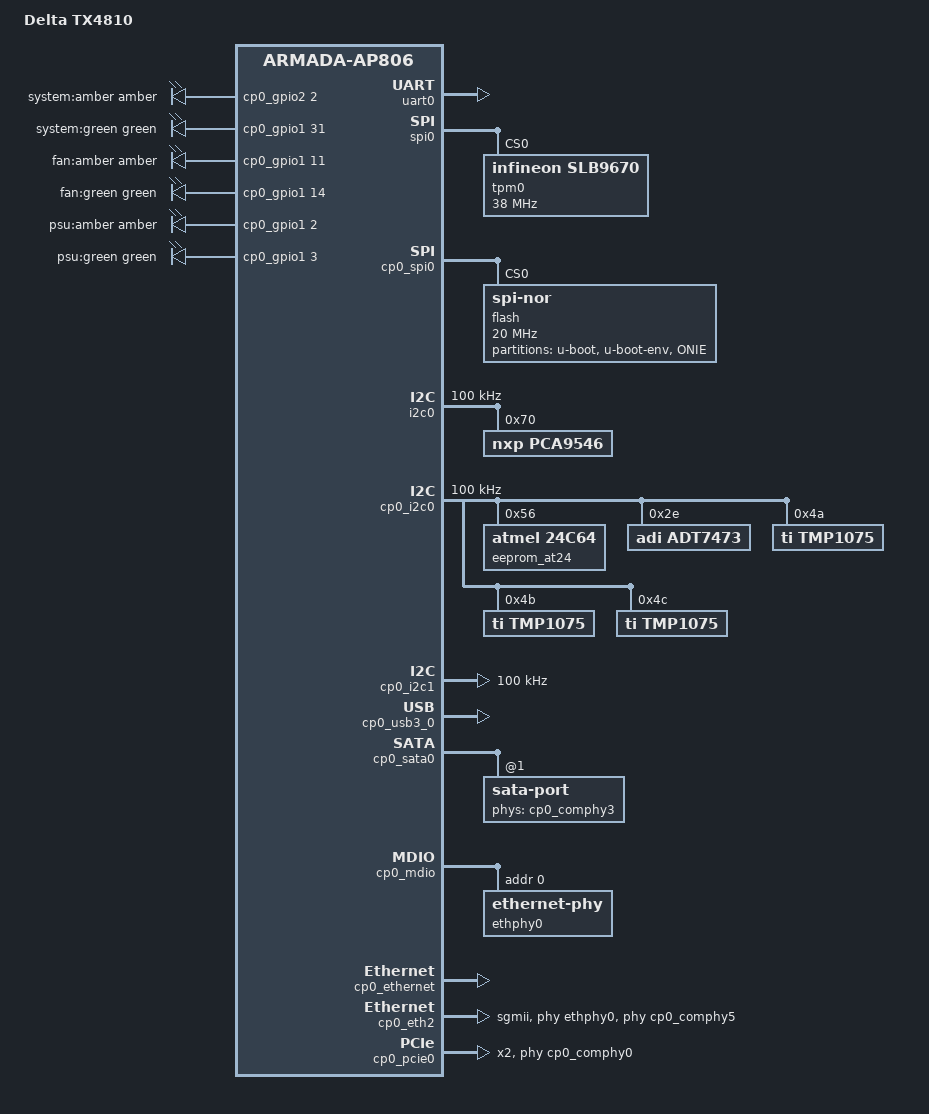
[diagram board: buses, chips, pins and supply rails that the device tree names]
// SPDX-License-Identifier: GPL-2.0-or-later OR MIT
/*
 * Copyright (C) 2016 Marvell Technology Group Ltd.
 * Copyright (C) 2021 Sartura Ltd.
 *
 * Device Tree file for Delta TX4810 switch
 */

#include <dt-bindings/leds/common.h>
#include <dt-bindings/gpio/gpio.h>
#include "armada-7040.dtsi"

/ {
	model = "Delta TX4810";
	compatible = "delta,tx4810", "marvell,armada7040",
		     "marvell,armada-ap806-quad", "marvell,armada-ap806";

	chosen {
		stdout-path = "serial0:115200n8";
	};

	aliases {
		ethernet2 = &cp0_eth2;
	};

	leds {
		compatible = "gpio-leds";

		sys-amber {
			gpios = <&cp0_gpio2 2 GPIO_ACTIVE_HIGH>;
			color = <LED_COLOR_ID_AMBER>;
			label = "system:amber";
			default-state = "off";
			panic-indicator;
		};

		sys-green {
			gpios = <&cp0_gpio1 31 GPIO_ACTIVE_HIGH>;
			color = <LED_COLOR_ID_GREEN>;
			label = "system:green";
			default-state = "on";
		};

		fan-amber {
			gpios = <&cp0_gpio1 11 GPIO_ACTIVE_HIGH>;
			color = <LED_COLOR_ID_AMBER>;
			label = "fan:amber";
			default-state = "off";
		};

		fan-green {
			gpios = <&cp0_gpio1 14 GPIO_ACTIVE_HIGH>;
			color = <LED_COLOR_ID_GREEN>;
			label = "fan:green";
			default-state = "on";
		};

		psu-amber {
			gpios = <&cp0_gpio1 2 GPIO_ACTIVE_HIGH>;
			color = <LED_COLOR_ID_AMBER>;
			label = "psu:amber";
			default-state = "off";
		};

		psu-green {
			gpios = <&cp0_gpio1 3 GPIO_ACTIVE_HIGH>;
			color = <LED_COLOR_ID_GREEN>;
			label = "psu:green";
			default-state = "on";
		};
	};
};

&uart0 {
	status = "okay";
	pinctrl-0 = <&uart0_pins>;
	pinctrl-names = "default";
};

&spi0 {
	status = "okay";

	tpm0: slb9670@0 {
		compatible = "infineon,slb9670";
		reg = <0>;
		spi-max-frequency = <38000000>;
		status = "okay";
	};
};

&cp0_spi0 {
	status = "okay";

	flash@0 {
		compatible = "jedec,spi-nor";
		reg = <0>;
		spi-max-frequency = <20000000>;

		partitions {
			compatible = "fixed-partitions";
			#address-cells = <1>;
			#size-cells = <1>;

			partition@0 {
				label = "u-boot";
				reg = <0x0 0x3f0000>;
				read-only;
			};

			partition@3f0000 {
				label = "u-boot-env";
				reg = <0x3f0000 0x010000>;
			};

			partition@400000 {
				label = "ONIE";
				reg = <0x400000 0xc00000>;
			};
		};
	};
};

&i2c0 {
	status = "okay";
	clock-frequency = <100000>;

	pca9546@70 {
		compatible = "nxp,pca9546";
		reg = <0x70>;
		i2c-mux-idle-disconnect;
	};
};

&cp0_i2c0 {
	status = "okay";
	clock-frequency = <100000>;

	eeprom_at24: at24@56 {
		compatible = "atmel,24c64";
		reg = <0x56>;
	};

	adt7473@2e {
		compatible = "adi,adt7473";
		reg = <0x2e>;
	};

	tmp1075@4a {
		compatible = "ti,tmp1075";
		reg = <0x4a>;
	};

	tmp1075@4b {
		compatible = "ti,tmp1075";
		reg = <0x4b>;
	};

	tmp1075@4c {
		compatible = "ti,tmp1075";
		reg = <0x4c>;
	};
};

&cp0_i2c1 {
	status = "okay";
	clock-frequency = <100000>;
};

&cp0_usb3_0 {
	status = "okay";
};

&cp0_sata0 {
	status = "okay";

	sata-port@1 {
		status = "okay";
		phys = <&cp0_comphy3 1>;
	};
};

&cp0_mdio {
	status = "okay";

	ethphy0: ethernet-phy@0 {
		reg = <0>;
	};
};

&cp0_ethernet {
	status = "okay";
};

&cp0_eth2 {
	status = "okay";
	phy = <&ethphy0>;
	phy-mode = "sgmii";
	phys = <&cp0_comphy5 2>;
};

&cp0_pcie0 {
	status = "okay";
	num-lanes = <2>;
	phys = <&cp0_comphy0 0>, <&cp0_comphy1 0>;
	phy-names = "cp0-pcie0-x4-lane0-phy", "cp0-pcie0-x4-lane1-phy";

	ranges = /* downstream I/O */
		<0x81000000 0 0xf9020000 0  0xf9020000 0 0x10000
		/* non-prefetchable memory */
		0x82000000 0 0xc0000000 0  0xc0000000 0 0x400000>;
};
